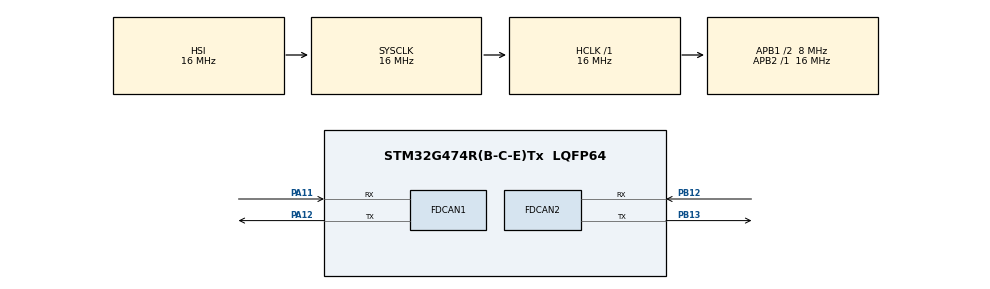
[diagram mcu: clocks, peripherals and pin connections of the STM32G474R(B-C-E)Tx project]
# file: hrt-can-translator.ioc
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FDCAN1.AutoRetransmission=ENABLE
FDCAN1.CalculateBaudRateNominal=1000000
FDCAN1.CalculateTimeBitNominal=1000
FDCAN1.CalculateTimeQuantumNominal=125.0
FDCAN1.DataSyncJumpWidth=1
FDCAN1.ExtFiltersNbr=8
FDCAN1.NominalPrescaler=1
FDCAN1.NominalSyncJumpWidth=2
FDCAN1.NominalTimeSeg1=5
FDCAN1.NominalTimeSeg2=2
FDCAN2.AutoRetransmission=DISABLE
FDCAN2.CalculateBaudRateNominal=125000
FDCAN2.CalculateTimeBitNominal=8000
FDCAN2.CalculateTimeQuantumNominal=250.0
FDCAN2.ExtFiltersNbr=0
FDCAN2.NominalPrescaler=2
FDCAN2.NominalSyncJumpWidth=4
FDCAN2.NominalTimeSeg1=27
FDCAN2.NominalTimeSeg2=4
FDCAN2.StdFiltersNbr=8
Mcu.Family=STM32G4
Mcu.Name=STM32G474R(B-C-E)Tx
Mcu.Package=LQFP64
NVIC.PriorityGroup=NVIC_PRIORITYGROUP_4
PA11.Mode=FDCAN_Activate
PA11.Signal=FDCAN1_RX
PA12.Mode=FDCAN_Activate
PA12.Signal=FDCAN1_TX
PB12.Mode=FDCAN_Activate
PB12.Signal=FDCAN2_RX
PB13.Mode=FDCAN_Activate
PB13.Signal=FDCAN2_TX
PF0-OSC_IN.Mode=HSE-External-Clock-Source
PF0-OSC_IN.Signal=RCC_OSC_IN
ProjectManager.HeapSize=0x200
ProjectManager.StackSize=0x400
ProjectManager.TargetToolchain=STM32CubeIDE
RCC.AHBFreq_Value=16000000
RCC.APB1CLKDivider=RCC_HCLK_DIV2
RCC.APB1Freq_Value=8000000
RCC.APB1TimFreq_Value=16000000
RCC.APB2Freq_Value=16000000
RCC.APB2TimFreq_Value=16000000
RCC.CortexFreq_Value=16000000
RCC.EXTERNAL_CLOCK_VALUE=12288000
RCC.FDCANCLockSelection=RCC_FDCANCLKSOURCE_HSE
RCC.HCLKFreq_Value=16000000
RCC.HSE_VALUE=8000000
RCC.HSI48_VALUE=48000000
RCC.HSI_VALUE=16000000
RCC.LSE_VALUE=32768
RCC.SYSCLKFreq_VALUE=16000000
RCC.USBFreq_Value=64000000
RCC.VCOOutputFreq_Value=128000000
VP_SYS_VS_DBSignals.Mode=DisableDeadBatterySignals
board=custom

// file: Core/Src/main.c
/* USER CODE BEGIN Header */
/**
  ******************************************************************************
  * @file           : main.c
  * @brief          : Main program body
  ******************************************************************************
  * @attention
  *
  * Copyright (c) 2026 STMicroelectronics.
  * All rights reserved.
  *
  * This software is licensed under terms that can be found in the LICENSE file
  * in the root directory of this software component.
  * If no LICENSE file comes with this software, it is provided AS-IS.
  *
  ******************************************************************************
  */
/* USER CODE END Header */
#include "main.h"

FDCAN_HandleTypeDef hfdcan1;
FDCAN_HandleTypeDef hfdcan2;

/* USER CODE BEGIN PV */
// CAN26 Variables
CANHandle_t CANHandle = &hfdcan2;
CANDevice_t CANDevice = {
		.motorDomain = 1,
		.deviceUUID = CAN_UUID_BLDC_ELBOW
};
CANPacket_t RxPacket;

// CubeMars Variables
CubeMarsConfig cubeMarsConfig = {
		.controller_id = 1,
		.pole_pairs = AK60_39_POLE_PAIRS,
		.gear_ratio = AK60_39_GEAR_RATIO,
		.input_is_joint_speed = false,
		.max_abs_erpm = 50000
};
CubeMarsFrame motorRxFrame;
CubeMarsServoFeedback motorFeedback;
volatile bool motorFeedbackValid = false;

volatile bool estopActive = false;
/* USER CODE END PV */

void SystemClock_Config(void);
static void MX_GPIO_Init(void);
static void MX_FDCAN1_Init(void);
static void MX_FDCAN2_Init(void);

int main(void)
{

  /* MCU Configuration--------------------------------------------------------*/

  /* Reset of all peripherals, Initializes the Flash interface and the Systick. */
  HAL_Init();

  /* Configure the system clock */
  SystemClock_Config();

  /* Initialize all configured peripherals */
  MX_GPIO_Init();
  MX_FDCAN1_Init();
  MX_FDCAN2_Init();
  /* USER CODE BEGIN 2 */
  CANInit(CANHandle, &CANDevice);

  // FDCAN1 RX FIFO0 Filters
  {
	  FDCAN_FilterTypeDef motorFilter = {0};
	  motorFilter.IdType = FDCAN_EXTENDED_ID;
	  motorFilter.FilterIndex = 0;
	  motorFilter.FilterType = FDCAN_FILTER_MASK;
	  motorFilter.FilterConfig = FDCAN_FILTER_TO_RXFIFO0;
	  motorFilter.FilterID1 = ((uint32_t)0x29u << 8) | (uint32_t)cubeMarsConfig.controller_id;
	  motorFilter.FilterID2 = 0x1FFFFFFFu;

	  if (HAL_FDCAN_ConfigFilter(&hfdcan1, &motorFilter) != HAL_OK) {
		  Error_Handler();
	  }
	  if (HAL_FDCAN_ConfigGlobalFilter(
			  &hfdcan1,
			  FDCAN_REJECT, FDCAN_REJECT,
			  FDCAN_FILTER_REMOTE, FDCAN_FILTER_REMOTE) != HAL_OK) {
		  Error_Handler();
	  }
	  if (HAL_FDCAN_Start(&hfdcan1) != HAL_OK) {
		  Error_Handler();
	  }
  }
  /* USER CODE END 2 */

  /* Infinite loop */
  while (1)
  {

    /* USER CODE BEGIN 3 */
	  if (CANPollAndReceive(CANHandle, &RxPacket)) {
		  RxPacket.device.deviceUUID &= 0x3F;
		  int ack = RxPacket.command & 0x80;

		  switch (RxPacket.command & 0x7F) {
		  case CAN_COMMAND_ID__VERSION_GET: {
			  if (ack) {
				  CANUniversalPacket_GetFirmwareVersion_Decoded_t decoded =
						  CANUniversalPacket_GetFirmwareVersion_Decode(&RxPacket);
				  CANPacket_t response = CANUniversalPacket_FirmwareVersion(
						  decoded.receiver, decoded.sender, "elbw", 1);
				  CANSend(CANHandle, &response);
			  }
			  break;
		  }
		  case CAN_COMMAND_ID__E_STOP: {
			  CANUniversalPacket_EStop_Decoded_t decoded =
					  CANUniversalPacket_EStop_Decode(&RxPacket);
			  (void)decoded;
			  estopActive = true;
			  if (ack) {
				  CANPacket_t response = CANUniversalPacket_Acknowledge(
						  decoded.receiver, decoded.sender, false, (CANCommand_t)(RxPacket.command & 0x7F));
				  CANSend(CANHandle, &response);
			  }
			  break;
		  }
		  case CAN_COMMAND_ID__BLDC_INPUT_VELOCITY: {
			  if (estopActive) {
				  if (ack) {
					  CANPacket_t response = CANUniversalPacket_Acknowledge(
							  RxPacket.device,
							  (CANDevice_t){ .deviceUUID = RxPacket.senderUUID },
							  true,
							  (CANCommand_t)(RxPacket.command & 0x7F));
					  CANSend(CANHandle, &response);
				  }
				  break;
			  }

			  // motorFrame using translation
			  CubeMarsFrame motorFrame;
			  bool ok = CAN26ToCubeMarsServoVelocity(&RxPacket, &cubeMarsConfig, &motorFrame);

			  if (ok) {
				  FDCAN_TxHeaderTypeDef txHeader = {0};
				  txHeader.Identifier = motorFrame.id; // 29-bit CAN ID
				  txHeader.IdType = motorFrame.extended ? FDCAN_EXTENDED_ID : FDCAN_STANDARD_ID;

				  txHeader.TxFrameType = FDCAN_DATA_FRAME;
				  txHeader.DataLength = FDCAN_DLC_BYTES_4; // Servo SET_RPM is 4 bytes of big-endian speed
				  txHeader.ErrorStateIndicator = FDCAN_ESI_ACTIVE;
				  txHeader.BitRateSwitch = FDCAN_BRS_OFF;
				  txHeader.FDFormat = FDCAN_CLASSIC_CAN;
				  txHeader.TxEventFifoControl = FDCAN_NO_TX_EVENTS;
				  txHeader.MessageMarker = 0;

				  if (HAL_FDCAN_AddMessageToTxFifoQ(&hfdcan1, &txHeader, motorFrame.data) != HAL_OK) {
					  if (ack) {
						  CANPacket_t response = CANUniversalPacket_Acknowledge(
								  RxPacket.device,
								  (CANDevice_t){ .deviceUUID = RxPacket.senderUUID},
								  true,
								  (CANCommand_t)(RxPacket.command & 0x7f));
						  CANSend(CANHandle, &response);
					  }
					  break;
				  }

				  if (ack) {
					  CANPacket_t response = CANUniversalPacket_Acknowledge(
							  RxPacket.device,
					          (CANDevice_t){ .deviceUUID = RxPacket.senderUUID },
					          false,
					          (CANCommand_t)(RxPacket.command & 0x7F));
					  CANSend(CANHandle, &response);
				  }
			  } else if (ack) {
				  CANPacket_t response = CANUniversalPacket_Acknowledge(
						  RxPacket.device,
						  (CANDevice_t){ .deviceUUID = RxPacket.senderUUID },
						  true,
						  (CANCommand_t)(RxPacket.command & 0x7F));
				  CANSend(CANHandle, &response);
			  }
			  break;
		  }

		  case CAN_COMMAND_ID__BLDC_ENCODER_ESTIMATE_GET: {
			  if (ack) {
				  CANPacket_t response;
				  bool ok = CAN26ReplyToEncoderEstimateRequest(
						  &RxPacket,
				          &motorRxFrame,
				          motorFeedbackValid,
				          &cubeMarsConfig,
				          true,
				          &response);
				  if (ok) {
					  CANSend(CANHandle, &response);
				  } else {
					  CANPacket_t nack = CANUniversalPacket_Acknowledge(
							  RxPacket.device,
							  (CANDevice_t){ .deviceUUID = RxPacket.senderUUID },
							  true,
							  (CANCommand_t)(RxPacket.command & 0x7F));
					  CANSend(CANHandle, &nack);
				  }
			  }
			  break;
		  }
		  case CAN_COMMAND_ID__RESET: {
		      estopActive = false;
		      if (ack) {
		          CANPacket_t response = CANUniversalPacket_Acknowledge(
		        		  RxPacket.device,
		              (CANDevice_t){ .deviceUUID = RxPacket.senderUUID },
		              false,
		              (CANCommand_t)(RxPacket.command & 0x7F));
		          CANSend(CANHandle, &response);
		      }
		      break;
		  }

		  default:
			  if (ack) {
				  CANPacket_t response = CANUniversalPacket_Acknowledge(
						  RxPacket.device,
						  (CANDevice_t){ .deviceUUID = RxPacket.senderUUID },
						  true,
						  (CANCommand_t)(RxPacket.command & 0x7F));
				  CANSend(CANHandle, &response);
			  }
			  break;
		  }
	  }

	  // FDCAN1 poll
	  if (HAL_FDCAN_GetRxFifoFillLevel(&hfdcan1, FDCAN_RX_FIFO0) > 0u) {
		  FDCAN_RxHeaderTypeDef rxHeader;
		  uint8_t rxData[8];

		  if(HAL_FDCAN_GetRxMessage(&hfdcan1, FDCAN_RX_FIFO0, &rxHeader, rxData) == HAL_OK) {
			  motorRxFrame.id = rxHeader.Identifier;
			  motorRxFrame.extended = (rxHeader.IdType == FDCAN_EXTENDED_ID);
			  motorRxFrame.length = (uint8_t)(rxHeader.DataLength & 0x0Fu);
			  if (motorRxFrame.length > 8u) {
				  motorRxFrame.length = 8u;
			  }
			  for (uint8_t i = 0; i < motorRxFrame.length; i++) {
				  motorRxFrame.data[i] = rxData[i];
			  }

			  motorFeedbackValid = CubeMarsDecodeServoFeedback(
					  &motorRxFrame,
					  cubeMarsConfig.controller_id,
					  &motorFeedback);
		  }
	  }
  }
  /* USER CODE END 3 */
}

void SystemClock_Config(void)
{
  RCC_OscInitTypeDef RCC_OscInitStruct = {0};
  RCC_ClkInitTypeDef RCC_ClkInitStruct = {0};

  /** Configure the main internal regulator output voltage
  */
  HAL_PWREx_ControlVoltageScaling(PWR_REGULATOR_VOLTAGE_SCALE1);

  /** Initializes the RCC Oscillators according to the specified parameters
  * in the RCC_OscInitTypeDef structure.
  */
  RCC_OscInitStruct.OscillatorType = RCC_OSCILLATORTYPE_HSI|RCC_OSCILLATORTYPE_HSE;
  RCC_OscInitStruct.HSEState = RCC_HSE_BYPASS;
  RCC_OscInitStruct.HSIState = RCC_HSI_ON;
  RCC_OscInitStruct.HSICalibrationValue = RCC_HSICALIBRATION_DEFAULT;
  RCC_OscInitStruct.PLL.PLLState = RCC_PLL_NONE;
  if (HAL_RCC_OscConfig(&RCC_OscInitStruct) != HAL_OK)
  {
    Error_Handler();
  }

  /** Initializes the CPU, AHB and APB buses clocks
  */
  RCC_ClkInitStruct.ClockType = RCC_CLOCKTYPE_HCLK|RCC_CLOCKTYPE_SYSCLK
                              |RCC_CLOCKTYPE_PCLK1|RCC_CLOCKTYPE_PCLK2;
  RCC_ClkInitStruct.SYSCLKSource = RCC_SYSCLKSOURCE_HSI;
  RCC_ClkInitStruct.AHBCLKDivider = RCC_SYSCLK_DIV1;
  RCC_ClkInitStruct.APB1CLKDivider = RCC_HCLK_DIV2;
  RCC_ClkInitStruct.APB2CLKDivider = RCC_HCLK_DIV1;

  if (HAL_RCC_ClockConfig(&RCC_ClkInitStruct, FLASH_LATENCY_0) != HAL_OK)
  {
    Error_Handler();
  }
}

static void MX_FDCAN1_Init(void)
{

  hfdcan1.Instance = FDCAN1;
  hfdcan1.Init.ClockDivider = FDCAN_CLOCK_DIV1;
  hfdcan1.Init.FrameFormat = FDCAN_FRAME_CLASSIC;
  hfdcan1.Init.Mode = FDCAN_MODE_NORMAL;
  hfdcan1.Init.AutoRetransmission = ENABLE;
  hfdcan1.Init.TransmitPause = DISABLE;
  hfdcan1.Init.ProtocolException = DISABLE;
  hfdcan1.Init.NominalPrescaler = 1;
  hfdcan1.Init.NominalSyncJumpWidth = 2;
  hfdcan1.Init.NominalTimeSeg1 = 5;
  hfdcan1.Init.NominalTimeSeg2 = 2;
  hfdcan1.Init.DataPrescaler = 1;
  hfdcan1.Init.DataSyncJumpWidth = 1;
  hfdcan1.Init.DataTimeSeg1 = 1;
  hfdcan1.Init.DataTimeSeg2 = 1;
  hfdcan1.Init.StdFiltersNbr = 0;
  hfdcan1.Init.ExtFiltersNbr = 8;
  hfdcan1.Init.TxFifoQueueMode = FDCAN_TX_FIFO_OPERATION;
  if (HAL_FDCAN_Init(&hfdcan1) != HAL_OK)
  {
    Error_Handler();
  }

}

static void MX_FDCAN2_Init(void)
{

  hfdcan2.Instance = FDCAN2;
  hfdcan2.Init.ClockDivider = FDCAN_CLOCK_DIV1;
  hfdcan2.Init.FrameFormat = FDCAN_FRAME_CLASSIC;
  hfdcan2.Init.Mode = FDCAN_MODE_NORMAL;
  hfdcan2.Init.AutoRetransmission = DISABLE;
  hfdcan2.Init.TransmitPause = DISABLE;
  hfdcan2.Init.ProtocolException = DISABLE;
  hfdcan2.Init.NominalPrescaler = 2;
  hfdcan2.Init.NominalSyncJumpWidth = 4;
  hfdcan2.Init.NominalTimeSeg1 = 27;
  hfdcan2.Init.NominalTimeSeg2 = 4;
  hfdcan2.Init.DataPrescaler = 1;
  hfdcan2.Init.DataSyncJumpWidth = 1;
  hfdcan2.Init.DataTimeSeg1 = 1;
  hfdcan2.Init.DataTimeSeg2 = 1;
  hfdcan2.Init.StdFiltersNbr = 8;
  hfdcan2.Init.ExtFiltersNbr = 0;
  hfdcan2.Init.TxFifoQueueMode = FDCAN_TX_FIFO_OPERATION;
  if (HAL_FDCAN_Init(&hfdcan2) != HAL_OK)
  {
    Error_Handler();
  }

}

static void MX_GPIO_Init(void)
{

  /* GPIO Ports Clock Enable */
  __HAL_RCC_GPIOF_CLK_ENABLE();
  __HAL_RCC_GPIOB_CLK_ENABLE();
  __HAL_RCC_GPIOA_CLK_ENABLE();

}

void Error_Handler(void)
{
  __disable_irq();
  while (1)
  {
  }
}
